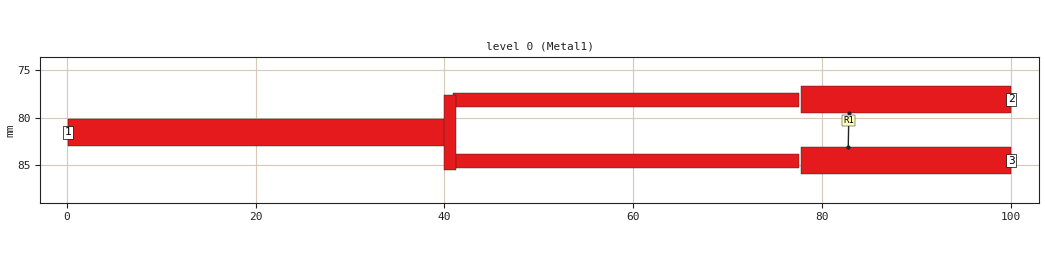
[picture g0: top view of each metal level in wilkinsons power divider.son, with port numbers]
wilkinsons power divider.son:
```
FTYP SONPROJ 19 ! Sonnet Project File
VER 18.53
HEADER
LIC SL66199d8c
DAT 05/04/2024 15:24:00
BUILT_BY_CREATED xgeom 18.53-Lite 05/03/2024 18:05:33
BUILT_BY_SAVED sonnet 18.53-Lite
MDATE 05/03/2024 19:10:20
HDATE 05/03/2024 19:10:20
END HEADER
DIM
ANG DEG
CAP PF
CON /OH
FREQ GHZ
IND NH
LNG MM
RES OH
END DIM
CONTROL
VARSWP
OPTIONS  -d
SPEED 0
CACHE_ABS 2
Q_ACC N
END CONTROL
GEO
TMET "Free Space" 0 FREESPACE 376.7303136 0 0 0
BMET "Lossless" 0 SUP 0 0 0 0
BOX 1 100 200 400 800 20 0
      2 1 1 0 0 0 0 "Air"
      1.5 4.4 1 0.02 0 0 0 "FR-4"
TECHLAY METAL Metal1 <UNSPECIFIED> -2 -65534 
0 0 -1 N 9 1 1 100 100 0 0 0 Y
END
END
DIM STD XDIR 1
POS 0.8197816401 -0.1507760354
NOM 36.55375
REF1 POLY 21 1
3
REF2 POLY 21 1
0
END
DIM STD XDIR 1
POS 0.9036968901 0.1270085246
NOM 36.55375
REF1 POLY 20 1
3
REF2 POLY 20 1
0
END
DIM STD YDIR -1
POS -0.1549563164 -0.3331240516
NOM 2.5661
REF1 POLY 18 1
0
REF2 POLY 26 1
2
END
DIM STD XDIR 1
POS 0.4758499099 -0.1146194817
NOM 22.25
REF1 POLY 24 1
2
REF2 POLY 24 1
1
END
DIM STD XDIR 1
POS 0.4829764341 0.09756683596
NOM 22.25
REF1 POLY 22 1
2
REF2 POLY 22 1
1
END
DIM STD YDIR -1
POS -0.143635399 -0.1018983937
NOM 2.5661
REF1 POLY 26 1
1
REF2 POLY 18 1
1
END
DIM STD XDIR -1
POS -39.21573343 -2.562207297
NOM 40.0661
REF1 POLY 18 1
0
REF2 POLY 18 1
3
END
LORGN 0 200 U 
POR1 BOX
POLY 18 1
2
1 50 0 0 0 0.1839 81.5661 
POR1 BOX
POLY 22 1
0
3 50 0 0 0 100 84.5661 
POR1 BOX
POLY 24 1
0
2 50 0 0 0 100 78.0661 
SMD 0 "R1"
ID 15
GNDREF AUTO
SBOX 77.21695 91.28305 74.03305 88.09915
PBSHW N
LPOS 84.25 74.03305
TYPE IDEAL RES 100
SMDP 0 82.8161 79.5661 T 4 1 
EXSMDP
GNDREF AUTO
TERMW CELL
END EXSMDP
SMDP 0 82.75 83.1322 B 5 2 
EXSMDP
GNDREF AUTO
TERMW CELL
END EXSMDP
END
NUM 6
0 5 -1 N 18 1 1 100 100 0 0 0 Y
TLAYNAM Metal1 INH
40.25 80.1322
40.25 83
0.1839 83
0.1839 80.1322
40.25 80.1322
END
0 5 -1 N 20 1 1 100 100 0 0 0 Y
TLAYNAM Metal1 INH
77.5 83.86985
77.5 85.38955
40.94625 85.38955
40.94625 83.86985
77.5 83.86985
END
0 5 -1 N 21 1 1 100 100 0 0 0 Y
TLAYNAM Metal1 INH
77.5 77.36985
77.5 78.88955
40.94625 78.88955
40.94625 77.36985
77.5 77.36985
END
0 5 -1 N 22 1 1 100 100 0 0 0 Y
TLAYNAM Metal1 INH
100 83.1322
100 86
77.75 86
77.75 83.1322
100 83.1322
END
0 5 -1 N 24 1 1 100 100 0 0 0 Y
TLAYNAM Metal1 INH
100 76.6322
100 79.5
77.75 79.5
77.75 76.6322
100 76.6322
END
0 5 -1 N 26 1 1 100 100 0 0 0 Y
TLAYNAM Metal1 INH
41.25 85.5661
39.99015 85.5661
39.99015 77.5661
41.25 77.5661
41.25 85.5661
END
END GEO
OPT
MAX 100
END OPT
VARSWP
ENABLED Y
FREQ Y AY ABS_ENTRY 2.0 4.0 -1 300 
END
END VARSWP
```
